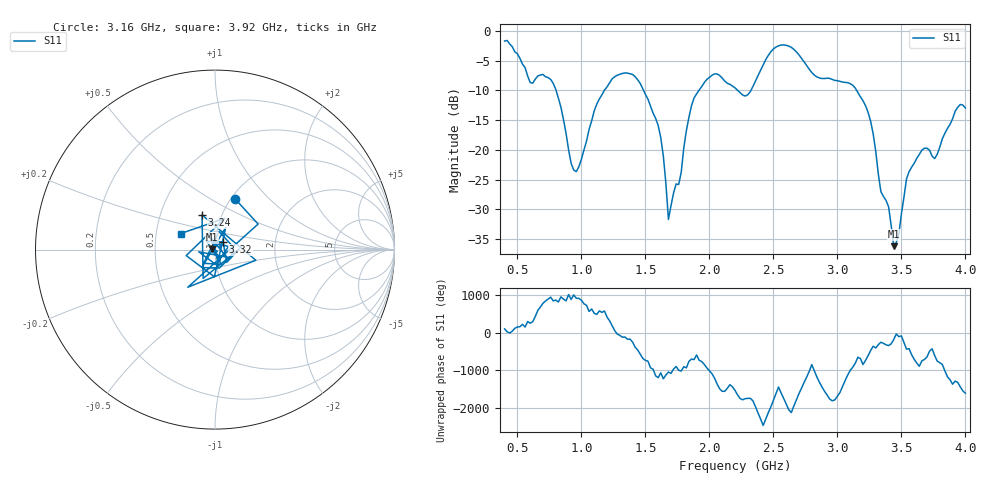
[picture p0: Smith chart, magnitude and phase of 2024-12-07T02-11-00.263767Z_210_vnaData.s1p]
!Created with skrf (http://scikit-rf.org).
# Hz S RI R 50.0
!freq ReS11 ImS11
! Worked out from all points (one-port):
!   181 points, 400 MHz to 4 GHz, reference 50 ohm
!   lowest |S11| = -36.2 dB at 3.44 GHz (marker M1), VSWR 1.03, Z = 48.5 + j0.113 ohm
!   |S11| at or under -10 dB: 802.2 MHz to 1.179 GHz (376.6 MHz wide, 38 % of centre); 1.486 GHz to 1.918 GHz (432.5 MHz wide, 25.4 % of centre); 3.15 GHz to end of sweep (the widest 3 of 4)
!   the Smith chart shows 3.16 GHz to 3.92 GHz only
!   S11 on the Smith chart (normalised r, x): 3.16 GHz: 1.05, +0.65; 3.24 GHz: 0.81, +0.33; 3.32 GHz: 1.09, +0.09; 3.92 GHz: 0.67, +0.13
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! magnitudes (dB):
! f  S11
! 400 MHz  -1.7
! 600 MHz  -8.7
! 760 MHz  -8.2
! 860 MHz  -14.9
! 960 MHz  -23.7
! 1.12 GHz  -12.3
! 1.3 GHz  -7.3
! 1.44 GHz  -8.2
! 1.6 GHz  -15.9
! 1.64 GHz  -21.0
! 1.68 GHz  -31.7
! 1.76 GHz  -25.8
! 1.88 GHz  -11.3
! 2.04 GHz  -7.2
! 2.2 GHz  -9.6
! 2.3 GHz  -10.7
! 2.66 GHz  -3.1
! 3.1 GHz  -8.9
! 3.16 GHz  -10.4
! 3.24 GHz  -13.7
! 3.32 GHz  -24.1
! 3.4 GHz  -29.6
! 3.44 GHz  -36.2
! 3.56 GHz  -23.7
! 3.68 GHz  -19.7
! 3.76 GHz  -21.5
! 3.92 GHz  -13.5
! 4 GHz  -13.0
